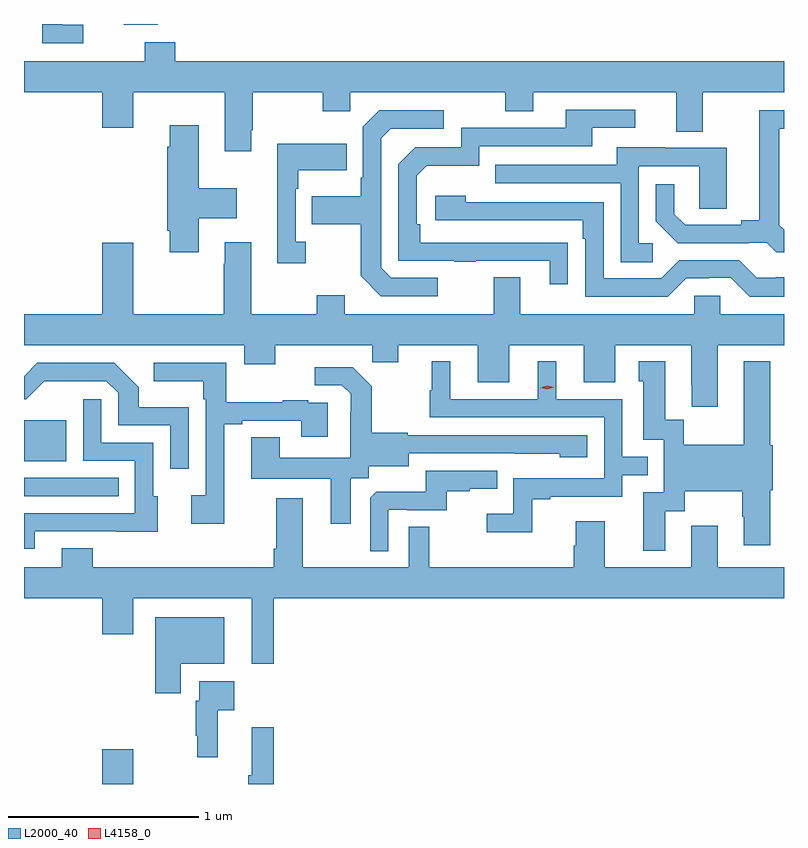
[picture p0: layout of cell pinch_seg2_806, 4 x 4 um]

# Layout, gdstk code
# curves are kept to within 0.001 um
import gdstk
lib = gdstk.Library(unit=1e-6, precision=1e-09)
def R(c, l, rs):  # rectangles x0, y0, x1, y1
    for r in rs: c.add(gdstk.rectangle(r[:2], r[2:], *l))
def P(c, l, *ps):  # polygons
    for p in ps: c.add(gdstk.Polygon(p, *l))
L2000_40 = (2000, 40)
L4158_0 = (4158, 0)

pinch_seg2_806 = lib.new_cell('pinch_seg2_806')
R(pinch_seg2_806, L2000_40, [(692.48,616.023,692.644,616.207), (692.068,617.538,692.567,617.634), (692.068,617.723,692.29,617.938), (692.594,620.018,692.773,620.023)])
P(pinch_seg2_806, L2000_40, [(692.38,620.019),(692.269,620.019),(692.269,620.023),(692.165,620.023),(692.165,619.923),(692.38,619.923)],
  [(693.265,619.465),(693.273,619.465),(693.273,619.664),(693.64,619.664),(693.64,619.565),(693.786,619.565),(693.786,619.664),(694.6,619.664),(694.6,619.565),(694.747,619.565),(694.747,619.664),(695.501,619.664),(695.501,619.456),(695.641,619.456),(695.641,619.664),(696.068,619.664),(696.068,619.828),(692.864,619.828),(692.864,619.927),(692.704,619.927),(692.704,619.828),(692.068,619.828),(692.068,619.664),(692.48,619.664),(692.48,619.476),(692.644,619.476),(692.644,619.664),(693.125,619.664),(693.125,619.353),(693.265,619.353)],
  [(694.931,618.872),(694.154,618.873),(694.154,618.97),(694.134,618.97),(694.134,619.224),(694.187,619.277),(694.464,619.277),(694.464,619.38),(695.059,619.38),(695.059,619.476),(695.284,619.476),(695.284,619.572),(694.919,619.572),(694.919,619.476),(694.368,619.476),(694.368,619.374),(694.128,619.374),(694.038,619.284),(694.038,618.777),(694.333,618.777),(694.333,618.772),(694.445,618.772),(694.445,618.777),(694.835,618.777),(694.835,618.654),(694.931,618.654)],
  [(694.246,618.687),(694.002,618.687),(693.948,618.741),(693.948,619.422),(693.999,619.473),(694.276,619.473),(694.276,619.569),(693.939,619.569),(693.852,619.482),(693.852,619.213),(693.84,619.213),(693.84,619.117),(693.583,619.117),(693.583,618.97),(693.84,618.97),(693.84,618.697),(693.945,618.591),(694.246,618.591)],
  [(696.068,618.94),(696.043,618.965),(696.043,619.473),(696.068,619.473),(696.068,619.569),(695.939,619.569),(695.939,618.989),(695.843,618.989),(695.843,618.966),(695.548,618.966),(695.491,619.023),(695.491,619.18),(695.394,619.18),(695.394,618.986),(695.51,618.87),(695.882,618.87),(695.882,618.873),(695.976,618.873),(696.028,618.821),(696.068,618.821)],
  [(692.989,619.001),(693.187,619.001),(693.187,619.159),(692.989,619.159),(692.989,619.489),(692.834,619.489),(692.834,619.376),(692.822,619.376),(692.822,618.934),(692.834,618.934),(692.834,618.822),(692.989,618.822)],
  [(693.55,618.878),(693.498,618.878),(693.498,619.157),(693.511,619.157),(693.511,619.253),(693.767,619.253),(693.767,619.393),(693.401,619.393),(693.401,618.765),(693.55,618.765)],
  [(695.377,618.87),(695.304,618.87),(695.304,619.275),(695.622,619.275),(695.622,619.051),(695.767,619.051),(695.767,619.371),(695.443,619.371),(695.443,619.375),(695.189,619.375),(695.189,619.281),(694.549,619.281),(694.549,619.185),(695.208,619.185),(695.208,618.769),(695.377,618.769)],
  [(696.068,618.691),(696.025,618.691),(696.025,618.687),(695.925,618.687),(695.832,618.78),(695.517,618.78),(695.421,618.684),(695.118,618.684),(695.118,619.086),(694.394,619.086),(694.394,619.12),(694.233,619.12),(694.233,618.99),(695.009,618.99),(695.009,618.893),(695.022,618.893),(695.022,618.588),(695.457,618.588),(695.553,618.684),(695.672,618.684),(695.672,618.687),(695.787,618.687),(695.887,618.587),(696.068,618.587)],
  [(692.48,618.871),(692.48,618.496),(692.068,618.496),(692.068,618.332),(693.227,618.332),(693.227,618.233),(693.391,618.233),(693.391,618.332),(693.901,618.332),(693.901,618.242),(694.039,618.242),(694.039,618.332),(694.457,618.332),(694.457,618.138),(694.621,618.138),(694.621,618.332),(695.015,618.332),(695.015,618.138),(695.179,618.138),(695.179,618.332),(695.579,618.332),(695.579,618.121),(695.582,618.121),(695.582,618.009),(695.719,618.009),(695.719,618.332),(696.068,618.332),(696.068,618.496),(695.733,618.496),(695.733,618.594),(695.595,618.594),(695.595,618.496),(694.681,618.496),(694.681,618.691),(694.541,618.691),(694.541,618.496),(693.757,618.496),(693.757,618.595),(693.61,618.595),(693.61,618.496),(693.265,618.496),(693.265,618.874),(693.125,618.874),(693.125,618.761),(693.118,618.761),(693.118,618.496),(692.644,618.496),(692.644,618.871)],
  [(695.443,617.458),(695.545,617.458),(695.545,617.564),(695.848,617.564),(695.848,617.43),(695.855,617.43),(695.855,617.28),(695.995,617.28),(695.995,617.568),(696.008,617.568),(696.008,617.805),(695.995,617.805),(695.995,618.247),(695.855,618.247),(695.855,617.809),(695.541,617.809),(695.541,617.939),(695.443,617.939),(695.443,618.247),(695.303,618.247),(695.303,618.144),(695.327,618.144),(695.327,617.835),(695.436,617.835),(695.436,617.559),(695.327,617.559),(695.327,617.25),(695.443,617.25)],
  [(694.743,617.523),(694.837,617.523),(694.837,617.535),(695.217,617.535),(695.217,617.649),(695.351,617.649),(695.351,617.745),(695.217,617.745),(695.217,618.048),(694.87,618.048),(694.87,618.247),(694.772,618.247),(694.772,618.048),(694.312,618.048),(694.312,618.247),(694.214,618.247),(694.214,618.096),(694.203,618.096),(694.203,617.952),(695.121,617.952),(695.121,617.631),(694.644,617.631),(694.644,617.446),(694.503,617.446),(694.503,617.348),(694.743,617.348)],
  [(693.121,617.916),(693.217,617.916),(693.217,617.934),(693.527,617.934),(693.527,617.85),(693.667,617.85),(693.667,618.03),(693.563,618.03),(693.563,618.043),(693.431,618.043),(693.431,618.032),(693.133,618.032),(693.133,618.24),(692.751,618.24),(692.751,618.143),(693.012,618.143),(693.012,618.047),(693.024,618.047),(693.024,617.542),(692.949,617.542),(692.949,617.394),(693.121,617.394)],
  [(692.934,618.007),(692.673,618.007),(692.673,618.11),(692.542,618.24),(692.139,618.24),(692.068,618.169),(692.068,618.048),(692.079,618.048),(692.174,618.143),(692.502,618.144),(692.565,618.081),(692.565,617.91),(692.838,617.91),(692.838,617.682),(692.934,617.682)],
  [(693.787,617.632),(693.882,617.632),(693.882,617.696),(694.093,617.696),(694.093,617.763),(694.887,617.762),(694.887,617.744),(695.032,617.744),(695.032,617.859),(694.089,617.859),(694.089,617.872),(693.897,617.872),(693.897,618.117),(693.797,618.217),(693.597,618.217),(693.597,618.123),(693.741,618.123),(693.788,618.076),(693.788,617.981),(693.786,617.981),(693.786,617.74),(693.415,617.74),(693.415,617.849),(693.263,617.849),(693.263,617.63),(693.683,617.63),(693.683,617.394),(693.787,617.394)],
  [(692.125,617.352),(692.555,617.352),(692.555,617.351),(692.773,617.351),(692.773,617.538),(692.748,617.538),(692.748,617.82),(692.475,617.82),(692.475,618.049),(692.379,618.049),(692.379,617.724),(692.652,617.724),(692.652,617.448),(692.068,617.448),(692.068,617.262),(692.125,617.262)],
  [(693.984,617.466),(694.084,617.466),(694.084,617.463),(694.292,617.463),(694.292,617.565),(694.415,617.565),(694.415,617.576),(694.559,617.576),(694.559,617.673),(694.182,617.673),(694.182,617.561),(693.923,617.561),(693.891,617.529),(693.891,617.249),(693.984,617.249)],
  [(693.383,617),(696.068,617),(696.068,617.164),(695.719,617.164),(695.719,617.383),(695.579,617.383),(695.579,617.164),(695.125,617.164),(695.125,617.407),(694.973,617.407),(694.973,617.277),(694.961,617.277),(694.961,617.164),(694.201,617.164),(694.201,617.378),(694.092,617.378),(694.092,617.164),(693.535,617.164),(693.535,617.527),(693.395,617.527),(693.395,617.26),(693.383,617.26),(693.383,617.164),(692.431,617.164),(692.431,617.263),(692.267,617.263),(692.267,617.164),(692.068,617.164),(692.068,617),(692.48,617),(692.48,616.812),(692.644,616.812),(692.644,617),(693.266,617),(693.266,616.656),(693.383,616.656)],
  [(692.893,616.655),(693.121,616.655),(693.121,616.9),(692.759,616.9),(692.759,616.5),(692.893,616.5)],
  [(693.089,616.412),(693.175,616.412),(693.175,616.564),(692.991,616.564),(692.991,616.46),(692.971,616.46),(692.971,616.276),(692.979,616.276),(692.979,616.164),(693.089,616.164)],
  [(693.383,616.321),(693.266,616.321),(693.266,616.068),(693.247,616.068),(693.247,616.023),(693.383,616.023)])
P(pinch_seg2_806, L4158_0, [(694.821,618.1),(694.785,618.108),(694.785,618.108),(694.785,618.109),(694.821,618.12),(694.857,618.111),(694.857,618.111),(694.857,618.111)])

lib.write_gds('pinch_seg2_806.gds')
